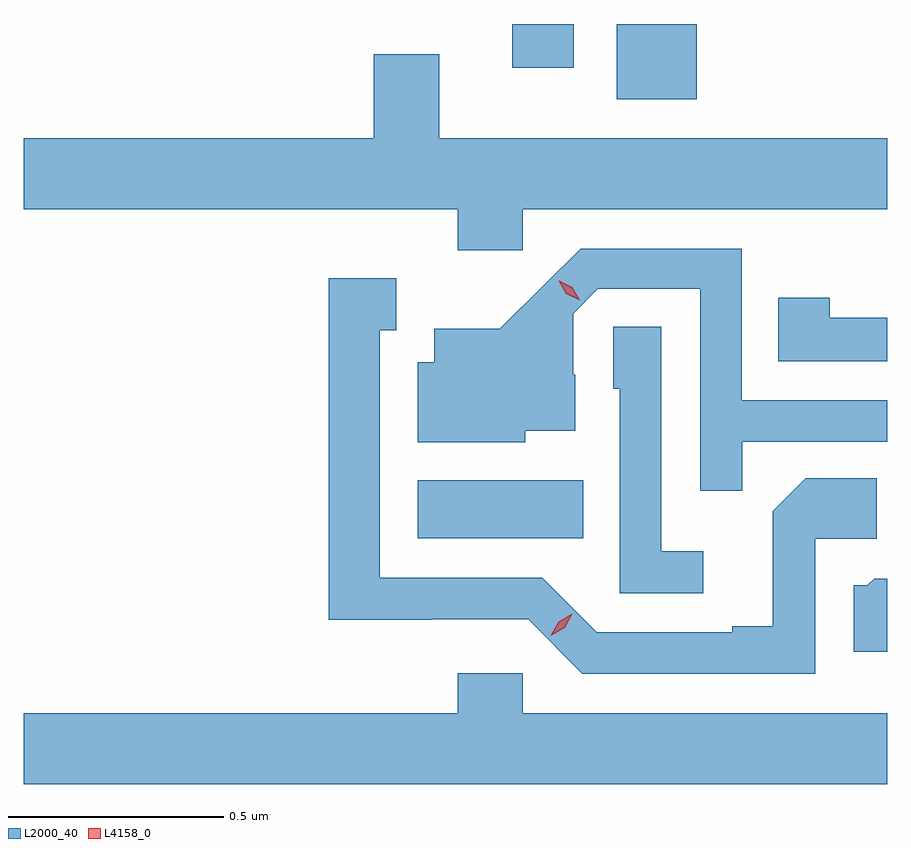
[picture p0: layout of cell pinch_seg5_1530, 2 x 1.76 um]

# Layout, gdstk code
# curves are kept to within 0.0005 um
import gdstk
lib = gdstk.Library(unit=1e-6, precision=1e-09)
def R(c, l, rs):  # rectangles x0, y0, x1, y1
    for r in rs: c.add(gdstk.rectangle(r[:2], r[2:], *l))
def P(c, l, *ps):  # polygons
    for p in ps: c.add(gdstk.Polygon(p, *l))
L2000_40 = (2000, 40)
L4158_0 = (4158, 0)

pinch_seg5_1530 = lib.new_cell('pinch_seg5_1530')
R(pinch_seg5_1530, L2000_40, [(120.5,886.634,120.884,886.768), (120.962,887.651,121.147,887.825), (120.719,887.724,120.862,887.825)])
P(pinch_seg5_1530, L2000_40, [(120.744,887.396),(121.588,887.396),(121.588,887.56),(120.55,887.56),(120.55,887.755),(120.398,887.755),(120.398,887.56),(119.588,887.56),(119.588,887.396),(120.593,887.396),(120.593,887.301),(120.744,887.301)],
  [(121.253,886.857),(121.588,886.857),(121.588,886.953),(121.251,886.953),(121.251,887.304),(120.878,887.304),(120.691,887.119),(120.539,887.119),(120.539,887.041),(120.5,887.041),(120.5,886.856),(120.75,886.856),(120.75,886.883),(120.865,886.883),(120.865,887.012),(120.861,887.012),(120.861,887.154),(120.918,887.211),(121.155,887.211),(121.155,886.744),(121.253,886.744)],
  [(121.422,886.632),(121.564,886.632),(121.564,886.772),(121.399,886.772),(121.323,886.696),(121.323,886.429),(121.229,886.429),(121.229,886.416),(120.915,886.416),(120.789,886.542),(120.412,886.542),(120.412,887.115),(120.451,887.115),(120.451,887.236),(120.294,887.236),(120.294,886.445),(120.534,886.445),(120.534,886.446),(120.756,886.446),(120.882,886.32),(121.422,886.32)],
  [(121.588,887.144),(121.455,887.144),(121.455,887.191),(121.336,887.191),(121.336,887.043),(121.588,887.043)],
  [(121.162,886.603),(121.065,886.603),(121.065,887.123),(120.954,887.123),(120.954,886.98),(120.969,886.98),(120.969,886.506),(121.162,886.506)],
  [(121.588,886.54),(121.558,886.54),(121.542,886.524),(121.511,886.524),(121.511,886.37),(121.588,886.37)],
  [(121.588,886.228),(120.744,886.228),(120.744,886.321),(120.593,886.321),(120.593,886.228),(119.588,886.228),(119.588,886.064),(121.588,886.064)])
P(pinch_seg5_1530, L4158_0, [(120.876,887.185),(120.845,887.2),(120.827,887.23),(120.827,887.23),(120.828,887.23),(120.858,887.215),(120.876,887.185),(120.876,887.185)],
  [(120.809,886.407),(120.809,886.408),(120.827,886.44),(120.858,886.459),(120.859,886.459),(120.859,886.459),(120.841,886.426),(120.809,886.407)])

lib.write_gds('pinch_seg5_1530.gds')
